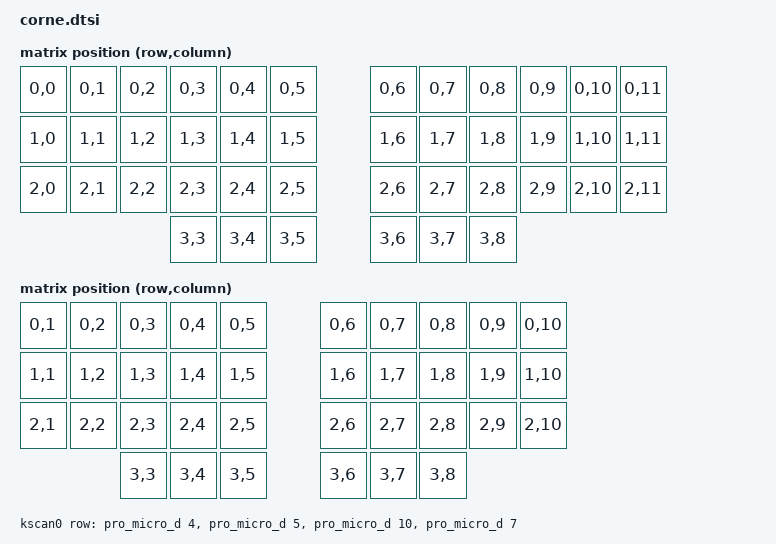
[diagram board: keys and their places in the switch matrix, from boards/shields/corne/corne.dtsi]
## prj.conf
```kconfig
CONFIG_ZMK_USB_LOGGING=y

#CONFIG_ZMK_RGB_UNDERGLOW=y
#CONFIG_WS2812_STRIP=y
#CONFIG_ZMK_DISPLAY=y
```

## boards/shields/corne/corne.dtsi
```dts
/*
 * Copyright (c) 2020 Pete Johanson
 *
 * SPDX-License-Identifier: MIT
 */

#include <dt-bindings/zmk/matrix_transform.h>

/ {
	chosen {
		zmk,kscan = &kscan0;
		zmk,matrix_transform = &default_transform;
	};

	default_transform: keymap_transform_0 {
		compatible = "zmk,matrix-transform";
		columns = <12>;
		rows = <4>;
// | SW1  | SW2  | SW3  | SW4  | SW5  | SW6  |   | SW6  | SW5  | SW4  | SW3  | SW2  | SW1  |
// | SW7  | SW8  | SW9  | SW10 | SW11 | SW12 |   | SW12 | SW11 | SW10 | SW9  | SW8  | SW7  |
// | SW13 | SW14 | SW15 | SW16 | SW17 | SW18 |   | SW18 | SW17 | SW16 | SW15 | SW14 | SW13 |
//                      | SW19 | SW20 | SW21 |   | SW21 | SW20 | SW19 |
		map = <
RC(0,0) RC(0,1) RC(0,2) RC(0,3) RC(0,4) RC(0,5)  RC(0,6) RC(0,7) RC(0,8) RC(0,9) RC(0,10) RC(0,11)
RC(1,0) RC(1,1) RC(1,2) RC(1,3) RC(1,4) RC(1,5)  RC(1,6) RC(1,7) RC(1,8) RC(1,9) RC(1,10) RC(1,11)
RC(2,0) RC(2,1) RC(2,2) RC(2,3) RC(2,4) RC(2,5)  RC(2,6) RC(2,7) RC(2,8) RC(2,9) RC(2,10) RC(2,11)
                        RC(3,3) RC(3,4) RC(3,5)  RC(3,6) RC(3,7) RC(3,8)
		>;
	};

	five_column_transform: keymap_transform_1 {
		compatible = "zmk,matrix-transform";
		columns = <10>;
		rows = <4>;
// | SW2  | SW3  | SW4  | SW5  | SW6  |   | SW6  | SW5  | SW4  | SW3  | SW2  |
// | SW8  | SW9  | SW10 | SW11 | SW12 |   | SW12 | SW11 | SW10 | SW9  | SW8  |
// | SW14 | SW15 | SW16 | SW17 | SW18 |   | SW18 | SW17 | SW16 | SW15 | SW14 |
//                      | SW19 | SW20 | SW21 |   | SW21 | SW20 | SW19 |
		map = <
RC(0,1) RC(0,2) RC(0,3) RC(0,4) RC(0,5)  RC(0,6) RC(0,7) RC(0,8) RC(0,9) RC(0,10)
RC(1,1) RC(1,2) RC(1,3) RC(1,4) RC(1,5)  RC(1,6) RC(1,7) RC(1,8) RC(1,9) RC(1,10)
RC(2,1) RC(2,2) RC(2,3) RC(2,4) RC(2,5)  RC(2,6) RC(2,7) RC(2,8) RC(2,9) RC(2,10)
                        RC(3,3) RC(3,4) RC(3,5)  RC(3,6) RC(3,7) RC(3,8)
		>;
	};

	kscan0: kscan {
		compatible = "zmk,kscan-gpio-matrix";
		label = "KSCAN";

		diode-direction = "col2row";
		row-gpios
			= <&pro_micro_d 4 (GPIO_ACTIVE_HIGH | GPIO_PULL_DOWN)>
			, <&pro_micro_d 5 (GPIO_ACTIVE_HIGH | GPIO_PULL_DOWN)>
			, <&pro_micro_d 10 (GPIO_ACTIVE_HIGH | GPIO_PULL_DOWN)>
			, <&pro_micro_d 7 (GPIO_ACTIVE_HIGH | GPIO_PULL_DOWN)>
			;
		
	};

	// TODO: per-key RGB node(s)?
};

&pro_micro_i2c {
	status = "okay";

	oled: ssd1306@3c {
		compatible = "solomon,ssd1306fb";
		reg = <0x3c>;
		label = "DISPLAY";
		width = <128>;
		height = <32>;
		segment-offset = <0>;
		page-offset = <0>;
		display-offset = <0>;
		multiplex-ratio = <31>;
		segment-remap;
		com-invdir;
		com-sequential;
		prechargep = <0x22>;
	};
};
```

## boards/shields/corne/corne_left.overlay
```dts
/*
 * Copyright (c) 2020 Pete Johanson
 *
 * SPDX-License-Identifier: MIT
 */

#include "corne.dtsi"

&kscan0 {
	col-gpios
		= <&pro_micro_a  3 GPIO_ACTIVE_HIGH>
		, <&pro_micro_d  10 GPIO_ACTIVE_HIGH>
		, <&pro_micro_a  1 GPIO_ACTIVE_HIGH>
		, <&pro_micro_a  0 GPIO_ACTIVE_HIGH>
		, <&pro_micro_d 15 GPIO_ACTIVE_HIGH>
		, <&pro_micro_d 14 GPIO_ACTIVE_HIGH>
		;
};
```

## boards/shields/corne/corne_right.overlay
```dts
/*
 * Copyright (c) 2020 Pete Johanson
 *
 * SPDX-License-Identifier: MIT
 */

#include "corne.dtsi"

&default_transform {
	col-offset = <6>;
};

&kscan0 {
	col-gpios
		= <&pro_micro_d 14 GPIO_ACTIVE_HIGH>
		, <&pro_micro_d 15 GPIO_ACTIVE_HIGH>
		, <&pro_micro_a  0 GPIO_ACTIVE_HIGH>
		, <&pro_micro_a  1 GPIO_ACTIVE_HIGH>
		, <&pro_micro_a  2 GPIO_ACTIVE_HIGH>
		, <&pro_micro_d 10 GPIO_ACTIVE_HIGH>
		;
};
```

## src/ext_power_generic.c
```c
/*
 * Copyright (c) 2020 The ZMK Contributors
 *
 * SPDX-License-Identifier: MIT
 */

#define DT_DRV_COMPAT zmk_ext_power_generic

#include <stdio.h>
#include <device.h>
#include <init.h>
#include <kernel.h>
#include <settings/settings.h>
#include <drivers/gpio.h>
#include <drivers/ext_power.h>

#if DT_HAS_COMPAT_STATUS_OKAY(DT_DRV_COMPAT)

#include <logging/log.h>
LOG_MODULE_DECLARE(zmk, CONFIG_ZMK_LOG_LEVEL);

struct ext_power_generic_config {
    const char *label;
    const uint8_t pin;
    const uint8_t flags;
    const uint16_t init_delay_ms;
};

struct ext_power_generic_data {
    const struct device *gpio;
    bool status;
#if IS_ENABLED(CONFIG_SETTINGS)
    bool settings_init;
#endif
#ifdef CONFIG_DEVICE_POWER_MANAGEMENT
    uint32_t pm_state;
#endif
};

#if IS_ENABLED(CONFIG_SETTINGS)
static void ext_power_save_state_work(struct k_work *work) {
    char setting_path[40];
    const struct device *ext_power = device_get_binding(DT_INST_LABEL(0));
    struct ext_power_generic_data *data = ext_power->data;

    snprintf(setting_path, 40, "ext_power/state/%s", DT_INST_LABEL(0));
    settings_save_one(setting_path, &data->status, sizeof(data->status));
}

static struct k_delayed_work ext_power_save_work;
#endif

int ext_power_save_state() {
#if IS_ENABLED(CONFIG_SETTINGS)
    k_delayed_work_cancel(&ext_power_save_work);
    return k_delayed_work_submit(&ext_power_save_work, K_MSEC(CONFIG_ZMK_SETTINGS_SAVE_DEBOUNCE));
#else
    return 0;
#endif
}

static int ext_power_generic_enable(const struct device *dev) {
    struct ext_power_generic_data *data = dev->data;
    const struct ext_power_generic_config *config = dev->config;

    if (gpio_pin_set(data->gpio, config->pin, 1)) {
        LOG_WRN("Failed to set ext-power control pin");
        return -EIO;
    }
    data->status = true;
    return ext_power_save_state();
}

static int ext_power_generic_disable(const struct device *dev) {
    struct ext_power_generic_data *data = dev->data;
    const struct ext_power_generic_config *config = dev->config;

    if (gpio_pin_set(data->gpio, config->pin, 0)) {
        LOG_WRN("Failed to clear ext-power control pin");
        return -EIO;
    }
    data->status = false;
    return ext_power_save_state();
}

static int ext_power_generic_get(const struct device *dev) {
    struct ext_power_generic_data *data = dev->data;
    return data->status;
}

#if IS_ENABLED(CONFIG_SETTINGS)
static int ext_power_settings_set(const char *name, size_t len, settings_read_cb read_cb,
                                  void *cb_arg) {
    const char *next;
    int rc;

    if (settings_name_steq(name, DT_INST_LABEL(0), &next) && !next) {
        const struct device *ext_power = device_get_binding(DT_INST_LABEL(0));
        struct ext_power_generic_data *data = ext_power->data;

        if (len != sizeof(data->status)) {
            return -EINVAL;
        }

        rc = read_cb(cb_arg, &data->status, sizeof(data->status));
        if (rc >= 0) {
            data->settings_init = true;

            if (ext_power == NULL) {
                LOG_ERR("Unable to retrieve ext_power device: %s", DT_INST_LABEL(0));
                return -EIO;
            }

            if (data->status) {
                ext_power_generic_enable(ext_power);
            } else {
                ext_power_generic_disable(ext_power);
            }

            return 0;
        }
        return rc;
    }
    return -ENOENT;
}

struct settings_handler ext_power_conf = {.name = "ext_power/state",
                                          .h_set = ext_power_settings_set};
#endif

static int ext_power_generic_init(const struct device *dev) {
    struct ext_power_generic_data *data = dev->data;
    const struct ext_power_generic_config *config = dev->config;

    data->gpio = device_get_binding(config->label);
    if (data->gpio == NULL) {
        LOG_ERR("Failed to get ext-power control device");
        return -EINVAL;
    }

    if (gpio_pin_configure(data->gpio, config->pin, config->flags | GPIO_OUTPUT)) {
        LOG_ERR("Failed to configure ext-power control pin");
        return -EIO;
    }

#ifdef CONFIG_DEVICE_POWER_MANAGEMENT
    data->pm_state = DEVICE_PM_ACTIVE_STATE;
#endif

#if IS_ENABLED(CONFIG_SETTINGS)
    settings_subsys_init();

    int err = settings_register(&ext_power_conf);
    if (err) {
        LOG_ERR("Failed to register the ext_power settings handler (err %d)", err);
        return err;
    }

    k_delayed_work_init(&ext_power_save_work, ext_power_save_state_work);

    // Set default value (off) if settings isn't set
    settings_load_subtree("ext_power");
    if (true /*!data->settings_init*/) {

        data->status = false;
        k_delayed_work_submit(&ext_power_save_work, K_NO_WAIT);

        ext_power_disable(dev);
    }
#else
    // Default to the ext_power being close when no settings
    ext_power_disable(dev);
#endif

    if (config->init_delay_ms) {
        k_msleep(config->init_delay_ms);
    }

    return 0;
}

#ifdef CONFIG_DEVICE_POWER_MANAGEMENT
static int ext_power_generic_pm_control(const struct device *dev, uint32_t ctrl_command,
                                        void *context, device_pm_cb cb, void *arg) {
    int rc;
    struct ext_power_generic_data *data = dev->data;

    switch (ctrl_command) {
    case DEVICE_PM_SET_POWER_STATE:
        if (*((uint32_t *)context) == DEVICE_PM_ACTIVE_STATE) {
            data->pm_state = DEVICE_PM_ACTIVE_STATE;
            rc = 0;
        } else {
            ext_power_generic_disable(dev);
            data->pm_state = DEVICE_PM_LOW_POWER_STATE;
            rc = 0;
        }
        break;
    case DEVICE_PM_GET_POWER_STATE:
        *((uint32_t *)context) = data->pm_state;
        rc = 0;
        break;
    default:
        rc = -EINVAL;
    }

    if (cb != NULL) {
        cb(dev, rc, context, arg);
    }

    return rc;
}
#endif /* CONFIG_DEVICE_POWER_MANAGEMENT */

static const struct ext_power_generic_config config = {
    .label = DT_INST_GPIO_LABEL(0, control_gpios),
    .pin = DT_INST_GPIO_PIN(0, control_gpios),
    .flags = DT_INST_GPIO_FLAGS(0, control_gpios),
    .init_delay_ms = DT_INST_PROP_OR(0, init_delay_ms, 0)};

static struct ext_power_generic_data data = {
    .status = false,
#if IS_ENABLED(CONFIG_SETTINGS)
    .settings_init = false,
#endif
};

static const struct ext_power_api api = {.enable = ext_power_generic_enable,
                                         .disable = ext_power_generic_disable,
                                         .get = ext_power_generic_get};

#define ZMK_EXT_POWER_INIT_PRIORITY 81

#ifdef CONFIG_DEVICE_POWER_MANAGEMENT
DEVICE_DEFINE(ext_power_generic, DT_INST_LABEL(0), ext_power_generic_init,
              &ext_power_generic_pm_control, &data, &config, POST_KERNEL,
              ZMK_EXT_POWER_INIT_PRIORITY, &api);
#else
DEVICE_AND_API_INIT(ext_power_generic, DT_INST_LABEL(0), ext_power_generic_init, &data, &config,
                    POST_KERNEL, ZMK_EXT_POWER_INIT_PRIORITY, &api);
#endif /* CONFIG_DEVICE_POWER_MANAGEMENT */

#endif /* DT_HAS_COMPAT_STATUS_OKAY(DT_DRV_COMPAT) */
```
